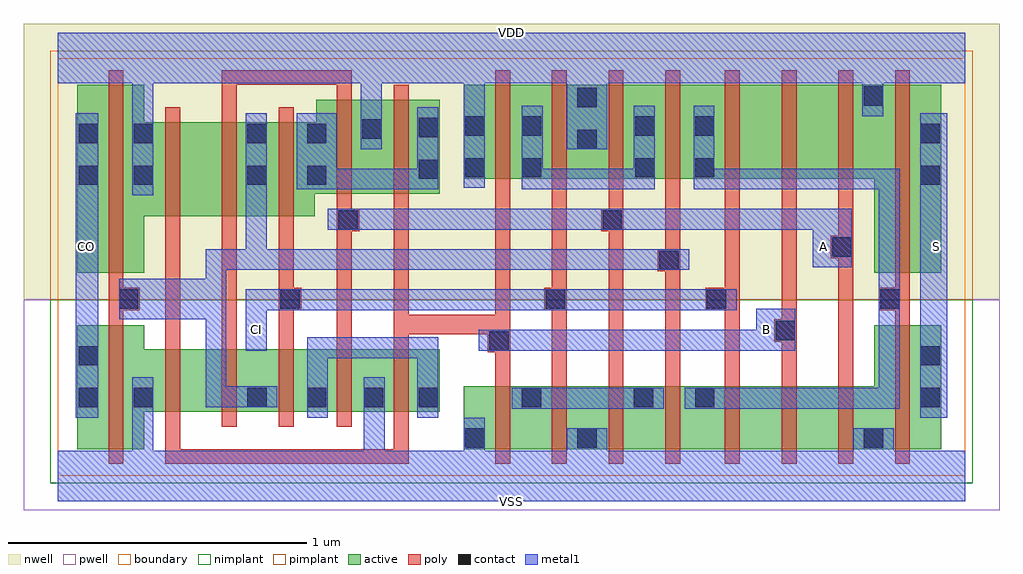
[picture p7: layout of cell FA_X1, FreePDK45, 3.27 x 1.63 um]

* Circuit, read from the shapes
.subckt FA_X1 A B CI CO S VDD VSS
M1 VSS n1 CO VSUBS nfet w=0.415u l=0.05u
M2 n2 B VSS VSUBS nfet w=0.21u l=0.05u
M3 n1 A n2 VSUBS nfet w=0.21u l=0.05u
M4 n3 CI n1 VSUBS nfet w=0.21u l=0.05u
M5 VSS A n3 VSUBS nfet w=0.21u l=0.05u
M6 n3 B VSS VSUBS nfet w=0.21u l=0.05u
M7 n4 B VSS VSUBS nfet w=0.21u l=0.05u
M8 VSS CI n4 VSUBS nfet w=0.21u l=0.05u
M9 n4 A VSS VSUBS nfet w=0.21u l=0.05u
M10 n5 n1 n4 VSUBS nfet w=0.21u l=0.05u
M11 n6 CI n5 VSUBS nfet w=0.21u l=0.05u
M12 n7 B n6 VSUBS nfet w=0.21u l=0.05u
M13 VSS A n7 VSUBS nfet w=0.21u l=0.05u
M14 S n5 VSS VSUBS nfet w=0.415u l=0.05u
M15 VDD n1 CO n8 pfet w=0.63u l=0.05u
M16 n9 B VDD n8 pfet w=0.315u l=0.05u
M17 n1 A n9 n8 pfet w=0.315u l=0.05u
M18 n10 CI n1 n8 pfet w=0.315u l=0.05u
M19 VDD A n10 n8 pfet w=0.315u l=0.05u
M20 n10 B VDD n8 pfet w=0.315u l=0.05u
M21 n11 B VDD n8 pfet w=0.315u l=0.05u
M22 VDD CI n11 n8 pfet w=0.315u l=0.05u
M23 n11 A VDD n8 pfet w=0.315u l=0.05u
M24 n5 n1 n11 n8 pfet w=0.315u l=0.05u
M25 n12 CI n5 n8 pfet w=0.315u l=0.05u
M26 n13 B n12 n8 pfet w=0.315u l=0.05u
M27 VDD A n13 n8 pfet w=0.315u l=0.05u
M28 S n5 VDD n8 pfet w=0.63u l=0.05u
.ends

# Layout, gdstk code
import gdstk
lib = gdstk.Library(unit=1e-6, precision=5e-10)
def R(c, l, rs):  # rectangles x0, y0, x1, y1
    for r in rs: c.add(gdstk.rectangle(r[:2], r[2:], *l))
def P(c, l, *ps):  # polygons
    for p in ps: c.add(gdstk.Polygon(p, *l))
active = (1, 0)
pwell = (2, 0)
nwell = (3, 0)
nimplant = (4, 0)
pimplant = (5, 0)
poly = (9, 0)
contact = (10, 0)
metal1 = (11, 0)
boundary = (235, 0)

fa_x1 = lib.new_cell('FA_X1')
P(fa_x1, active, [(1.36,0.995),(2.735,0.995),(2.735,0.68),(2.96,0.68),(2.96,1.31),(1.36,1.31)],
  [(1.36,0.09),(2.96,0.09),(2.96,0.505),(2.735,0.505),(2.735,0.3),(1.36,0.3)],
  [(0.065,0.68),(0.29,0.68),(0.29,0.87),(0.86,0.87),(0.86,0.945),(1.28,0.945),(1.28,1.26),(0.865,1.26),(0.865,1.185),(0.29,1.185),(0.29,1.31),(0.065,1.31)],
  [(0.065,0.09),(0.29,0.09),(0.29,0.215),(1.28,0.215),(1.28,0.425),(0.29,0.425),(0.29,0.505),(0.065,0.505)])
R(fa_x1, pwell, [(-0.115,-0.115,3.155,0.59)])
R(fa_x1, nwell, [(-0.115,0.59,3.155,1.515)])
R(fa_x1, nimplant, [(-0.025,-0.025,3.065,0.59)])
R(fa_x1, pimplant, [(-0.025,0.59,3.065,1.425)])
P(fa_x1, poly, [(2.75,0.555),(2.805,0.555),(2.805,0.04),(2.855,0.04),(2.855,1.36),(2.805,1.36),(2.805,0.63),(2.75,0.63)],
  [(2.59,0.73),(2.615,0.73),(2.615,0.04),(2.665,0.04),(2.665,1.36),(2.615,1.36),(2.615,0.805),(2.59,0.805)],
  [(2.4,0.45),(2.425,0.45),(2.425,0.04),(2.475,0.04),(2.475,1.36),(2.425,1.36),(2.425,0.525),(2.4,0.525)],
  [(2.17,0.555),(2.235,0.555),(2.235,0.04),(2.285,0.04),(2.285,1.36),(2.235,1.36),(2.235,0.63),(2.17,0.63)],
  [(2.01,0.685),(2.035,0.685),(2.035,0.04),(2.085,0.04),(2.085,1.36),(2.035,1.36),(2.035,0.76),(2.01,0.76)],
  [(1.82,0.82),(1.845,0.82),(1.845,0.04),(1.895,0.04),(1.895,1.36),(1.845,1.36),(1.845,0.895),(1.82,0.895)],
  [(1.63,0.555),(1.655,0.555),(1.655,0.04),(1.705,0.04),(1.705,1.36),(1.655,1.36),(1.655,0.63),(1.63,0.63)],
  [(0.36,0.04),(1.175,0.04),(1.175,0.475),(1.44,0.475),(1.44,0.415),(1.465,0.415),(1.465,0.04),(1.515,0.04),(1.515,1.36),(1.465,1.36),(1.465,0.54),(1.175,0.54),(1.175,1.31),(1.125,1.31),(1.125,0.09),(0.41,0.09),(0.41,1.235),(0.36,1.235)],
  [(0.55,0.165),(0.6,0.165),(0.6,1.31),(0.935,1.31),(0.935,0.165),(0.985,0.165),(0.985,0.82),(1.01,0.82),(1.01,0.895),(0.985,0.895),(0.985,1.36),(0.55,1.36)],
  [(0.74,0.165),(0.79,0.165),(0.79,0.555),(0.815,0.555),(0.815,0.63),(0.79,0.63),(0.79,1.235),(0.74,1.235)],
  [(0.17,0.04),(0.22,0.04),(0.22,0.555),(0.275,0.555),(0.275,0.63),(0.22,0.63),(0.22,1.36),(0.17,1.36)])
R(fa_x1, contact, [(1.365,0.095,1.43,0.16), (1.74,0.095,1.805,0.16), (2.7,0.095,2.765,0.16), (0.07,0.23,0.135,0.295), (0.255,0.23,0.32,0.295), (0.635,0.23,0.7,0.295), (0.835,0.23,0.9,0.295), (1.025,0.23,1.09,0.295), (1.21,0.23,1.275,0.295), (1.555,0.23,1.62,0.295), (1.93,0.23,1.995,0.295), (2.135,0.23,2.2,0.295), (2.89,0.23,2.955,0.295), (0.07,0.37,0.135,0.435), (2.89,0.37,2.955,0.435), (1.445,0.42,1.51,0.485), (2.405,0.455,2.47,0.52), (0.205,0.56,0.27,0.625), (0.745,0.56,0.81,0.625), (1.635,0.56,1.7,0.625), (2.175,0.56,2.24,0.625), (2.755,0.56,2.82,0.625), (2.015,0.69,2.08,0.755), (2.595,0.735,2.66,0.8), (0.94,0.825,1.005,0.89), (1.825,0.825,1.89,0.89), (0.07,0.975,0.135,1.04), (0.255,0.975,0.32,1.04), (0.635,0.975,0.7,1.04), (0.835,0.975,0.9,1.04), (2.89,0.975,2.955,1.04), (1.21,0.995,1.275,1.06), (1.365,1,1.43,1.065), (1.555,1,1.62,1.065), (1.935,1,2,1.065), (2.135,1,2.2,1.065), (1.74,1.095,1.805,1.16), (0.07,1.115,0.135,1.18), (0.255,1.115,0.32,1.18), (0.635,1.115,0.7,1.18), (0.835,1.115,0.9,1.18), (2.89,1.115,2.955,1.18), (1.02,1.13,1.085,1.195), (1.21,1.135,1.275,1.2), (1.365,1.14,1.43,1.205), (1.555,1.14,1.62,1.205), (1.935,1.14,2,1.205), (2.135,1.14,2.2,1.205), (1.74,1.235,1.805,1.3), (2.7,1.24,2.765,1.305)])
R(fa_x1, metal1, [(0.06,0.195,0.135,1.215), (0.06,0.195,0.135,1.215), (2.89,0.195,2.98,1.215), (2.89,0.195,2.98,1.215), (1.52,0.225,2.03,0.295)])
P(fa_x1, metal1, [(0,-0.085),(3.04,-0.085),(3.04,0.085),(2.8,0.085),(2.8,0.16),(2.665,0.16),(2.665,0.085),(1.84,0.085),(1.84,0.16),(1.705,0.16),(1.705,0.085),(1.43,0.085),(1.43,0.195),(1.36,0.195),(1.36,0.085),(1.095,0.085),(1.095,0.33),(1.025,0.33),(1.025,0.085),(0.32,0.085),(0.32,0.33),(0.25,0.33),(0.25,0.085),(0,0.085)],
  [(0,1.315),(0.25,1.315),(0.25,0.94),(0.32,0.94),(0.32,1.315),(1.015,1.315),(1.015,1.095),(1.085,1.095),(1.085,1.315),(1.36,1.315),(1.36,0.965),(1.43,0.965),(1.43,1.315),(1.705,1.315),(1.705,1.095),(1.84,1.095),(1.84,1.315),(2.695,1.315),(2.695,1.205),(2.765,1.205),(2.765,1.315),(3.04,1.315),(3.04,1.485),(0,1.485)],
  [(0.63,0.42),(0.7,0.42),(0.7,0.555),(2.275,0.555),(2.275,0.625),(0.63,0.625)],
  [(1.41,0.42),(2.47,0.42),(2.47,0.56),(2.34,0.56),(2.34,0.49),(1.41,0.49)],
  [(0.905,0.825),(2.53,0.825),(2.53,0.7),(2.66,0.7),(2.66,0.895),(0.905,0.895)],
  [(0,1.315),(0.25,1.315),(0.25,0.94),(0.32,0.94),(0.32,1.315),(1.015,1.315),(1.015,1.095),(1.085,1.095),(1.085,1.315),(1.36,1.315),(1.36,0.965),(1.43,0.965),(1.43,1.315),(1.705,1.315),(1.705,1.095),(1.84,1.095),(1.84,1.315),(2.695,1.315),(2.695,1.205),(2.765,1.205),(2.765,1.315),(3.04,1.315),(3.04,1.485),(0,1.485)],
  [(0,-0.085),(3.04,-0.085),(3.04,0.085),(2.8,0.085),(2.8,0.16),(2.665,0.16),(2.665,0.085),(1.84,0.085),(1.84,0.16),(1.705,0.16),(1.705,0.085),(1.43,0.085),(1.43,0.195),(1.36,0.195),(1.36,0.085),(1.095,0.085),(1.095,0.33),(1.025,0.33),(1.025,0.085),(0.32,0.085),(0.32,0.33),(0.25,0.33),(0.25,0.085),(0,0.085)],
  [(2.13,0.96),(2.75,0.96),(2.75,0.295),(2.1,0.295),(2.1,0.225),(2.82,0.225),(2.82,1.03),(2.2,1.03),(2.2,1.24),(2.13,1.24)],
  [(0.905,0.825),(2.53,0.825),(2.53,0.7),(2.66,0.7),(2.66,0.895),(0.905,0.895)],
  [(1.41,0.42),(2.47,0.42),(2.47,0.56),(2.34,0.56),(2.34,0.49),(1.41,0.49)],
  [(0.63,0.42),(0.7,0.42),(0.7,0.555),(2.275,0.555),(2.275,0.625),(0.63,0.625)],
  [(0.565,0.69),(2.115,0.69),(2.115,0.76),(0.7,0.76),(0.7,1.215),(0.63,1.215),(0.63,0.76),(0.495,0.76),(0.495,0.66),(0.205,0.66),(0.205,0.525),(0.495,0.525),(0.495,0.23),(0.735,0.23),(0.735,0.3),(0.565,0.3)],
  [(1.555,0.96),(2,0.96),(2,1.24),(1.93,1.24),(1.93,1.03),(1.625,1.03),(1.625,1.24),(1.555,1.24)],
  [(0.8,0.96),(1.275,0.96),(1.275,1.235),(1.205,1.235),(1.205,1.03),(0.935,1.03),(0.935,1.215),(0.8,1.215)],
  [(0.835,0.195),(0.905,0.195),(0.905,0.395),(1.205,0.395),(1.205,0.195),(1.275,0.195),(1.275,0.465),(0.835,0.465)])
R(fa_x1, boundary, [(0,0,3.04,1.4)])
fa_x1.add(gdstk.Label('VSS', (1.52,-0.085), layer=11, texttype=0))
fa_x1.add(gdstk.Label('VDD', (1.52,1.485), layer=11, texttype=0))
fa_x1.add(gdstk.Label('S', (2.945,0.77), layer=11, texttype=0))
fa_x1.add(gdstk.Label('CO', (0.095,0.77), layer=11, texttype=0))
fa_x1.add(gdstk.Label('CI', (0.665,0.49), layer=11, texttype=0))
fa_x1.add(gdstk.Label('B', (2.375,0.49), layer=11, texttype=0))
fa_x1.add(gdstk.Label('A', (2.565,0.77), layer=11, texttype=0))

lib.write_gds('FA_X1.gds')
